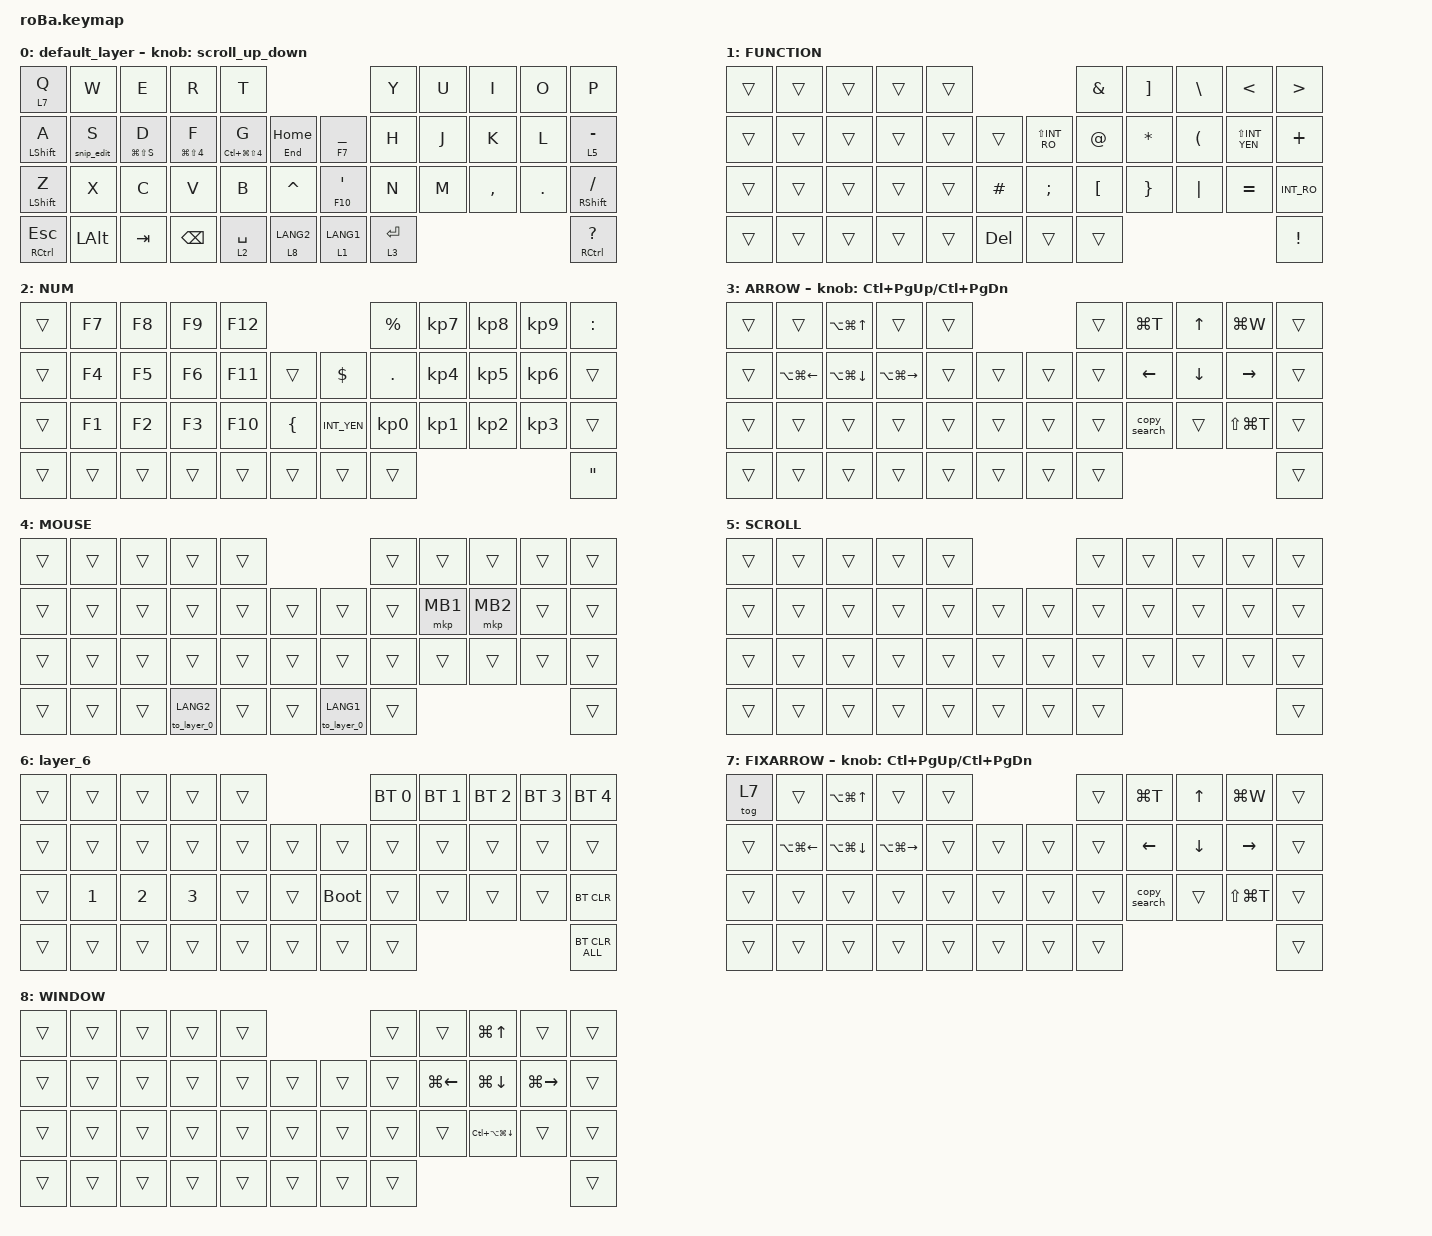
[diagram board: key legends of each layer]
#include <behaviors.dtsi>
#include <dt-bindings/zmk/bt.h>
#include <dt-bindings/zmk/keys.h>

#define ZMK_POINTING_DEFAULT_SCRL_VAL 100 
#include <dt-bindings/zmk/pointing.h>

// OS設定を日本語キーボードのまま使用するための変換定義
// 1段目（数字行）の記号
#define JP_DQUOTE    AT_SIGN        // " (JIS Shift+2)
#define JP_AMPERSAND CARET          // & (JIS Shift+6)
#define JP_QUOTE     AMPS           // ' (JIS Shift+7)
#define JP_LPAREN    ASTRK          // ( (JIS Shift+8)
#define JP_RPAREN    LPAR           // ) (JIS Shift+9)
#define JP_EQUAL     UNDERSCORE     // = (JIS Shift+-)
#define JP_CARET     EQUAL          // ^ (JIS 0の右)
#define JP_YEN       INT_YEN        // ¥ (JIS 0の右の右 / 0x89)
#define JP_BSLH      INT_RO         // \ (JISの「ろ」のキー)

// 2段目・3段目の記号
#define JP_AT        LBKT           // @ (JIS Pの右)
#define JP_LBRACKET  RBKT           // [ (JIS @の右)
#define JP_COLON     SQT            // : (JIS ;の右)
#define JP_ASTERISK  DQT            // * (JIS Shift+:)
#define JP_RBRACKET  BSLH           // ] (JIS む)

// 特殊記号（Shiftが必要なもの）
#define JP_PLUS      COLON          // + (JIS Shift+;)
#define JP_TILDE     PLUS           // ~ (JIS Shift+^)
#define JP_PIPE      LS(INT_YEN)    // | (JIS Shift+¥)
#define JP_BACKQUOTE LBRC           // ` (JIS Shift+@)
#define JP_LBRACE    RBRC           // { (JIS Shift+[)
#define JP_RBRACE    PIPE           // } (JIS Shift+])
#define JP_UNDERSCORE LS(INT_RO)    // _ (JIS Shift+ろ / 0x87)


&mt {
    flavor = "balanced";
    quick-tap-ms = <0>;
};

&trackball {
    automouse-layer = <4>;
    scroll-layers = <5>;
};

/ {
    combos {
        compatible = "zmk,combos";

        // 記号入力
        double_quotation {
            bindings = <&kp DOUBLE_QUOTES>;
            key-positions = <20 21>;
        };

        eq {
            bindings = <&kp EQUAL>;
            key-positions = <24 25>;
        };

        atmark {
            bindings = <&kp JP_AT>;
            key-positions = <4 10>;
        };

        under_score {
            bindings = <&kp JP_UNDERSCORE>;
            key-positions = <6 11>;
        };

        // デスクトップを左右に移動（Mac）
        Mac_Desk_LEFT {
            bindings = <&kp LC(LEFT)>;
            key-positions = <18 19>;
            timeout-ms = <50>;
        };

        Mac_Desk_RIGHT {
            bindings = <&kp LC(RIGHT)>;
            key-positions = <19 20>;
            timeout-ms = <50>;
        };

        // ミッションコントロール（Mac）
        MissionCntrl {
            bindings = <&kp LC(UP)>;
            key-positions = <18 20>;
            timeout-ms = <50>;
        };

        // デスクトップを左右に移動（Win）
        Win_Desk_LEFT {
            bindings = <&kp LG(LC(LEFT))>;
            key-positions = <30 31>;
            timeout-ms = <50>;
        };

        Win_Desk_RIGHT {
            bindings = <&kp LG(LC(RIGHT))>;
            key-positions = <31 32>;
            timeout-ms = <50>;   
        };

        // タスクビュー（Win）
        TaskView {
            bindings = <&kp LG(TAB)>;
            key-positions = <30 32>;
            timeout-ms = <50>;
        };
    };

    macros {
        to_layer_0: to_layer_0 {
            compatible = "zmk,behavior-macro-one-param";
            #binding-cells = <1>;
            bindings = <&to 0 &macro_param_1to1 &kp MACRO_PLACEHOLDER>;
        };

        // 選択文字列から新規タブ作成
        copy_search: copy_search {
            compatible = "zmk,behavior-macro";
            #binding-cells = <0>;
            wait-ms = <30>;
            tap-ms = <30>;
            bindings = <&kp LG(C) &kp LG(T) &macro_wait_time 150 &kp LG(V)>;
        };

        // 加工用スニップ：7番目のアプリ起動 -> 1秒待機 -> 新規作成
        snip_edit: snip_edit {
            compatible = "zmk,behavior-macro";
            #binding-cells = <0>;
            wait-ms = <30>;
            tap-ms = <30>;
            bindings 
                = <&kp LG(N7)>          // Win + 7
                , <&macro_wait_time 2000> // 起動待ち
                , <&kp ENTER>           // Enter
                ;
        };
    };

    behaviors {
        lt_to_layer_0: lt_to_layer_0 {
            compatible = "zmk,behavior-hold-tap";
            label = "LAYER_TAP_TO_0";
            bindings = <&mo>, <&to_layer_0>;

            #binding-cells = <2>;
            tapping-term-ms = <200>;
        };

        scroll_up_down: behavior_sensor_rotate_mouse_wheel_up_down {
            compatible = "zmk,behavior-sensor-rotate";
            #sensor-binding-cells = <0>;
            bindings = <&msc SCRL_UP>, <&msc SCRL_DOWN>;
            // 追加: スクロールのタップ時間を設定 (20ms)
            tap-ms = <20>;
        };

        // 短押しと長押しで別のキーを入力
        custom_ht: custom_ht {
            compatible = "zmk,behavior-hold-tap";
            #binding-cells = <2>;
            flavor = "tap-preferred";
            tapping-term-ms = <500>; // 0.5秒以上の長押しでマクロ発動
            bindings = <&kp>, <&kp>;
            // <長押し時のキー> <単押し時のキー>
            label = "CUSTOM_HOLD_TAP";
        };

        // 長押しでスニップ起動、単押しでキー入力
        snip_ht: snip_ht {
            compatible = "zmk,behavior-hold-tap";
            #binding-cells = <2>;
            flavor = "tap-preferred";
            tapping-term-ms = <500>; // 0.5秒の長押しで発動
            bindings = <&snip_edit>, <&kp>;
            label = "SNIP_HOLD_TAP";
        };

        // 長押しでレイヤーをトグル、単押しで通常のキーを入力する設定
        tog_ht: tog_ht {
            compatible = "zmk,behavior-hold-tap";
            #binding-cells = <2>;
            flavor = "tap-preferred";
            tapping-term-ms = <500>; // 長押しと判定する時間（ms）
            bindings = <&tog>, <&kp>;
            // <長押し時のトグル先> <単押し時のキー>
            label = "TOGGLE_HOLD_TAP";
        };
    };

    keymap {
        compatible = "zmk,keymap";

        default_layer {
            bindings = <
&tog_ht 7 Q       &kp W            &kp E                  &kp R                     &kp T                                                                                &kp Y        &kp U  &kp I      &kp O    &kp P
&mt LSHFT A       &snip_ht 0 S     &custom_ht LG(LS(S)) D &custom_ht LG(LS(N4)) F   &custom_ht LC(LG(LS(N4))) G        &custom_ht END HOME      &custom_ht F7 JP_EQUAL   &kp H        &kp J  &kp K      &kp L    &lt 5 MINUS
&mt LEFT_SHIFT Z  &kp X            &kp C                  &kp V                     &kp B                              &kp JP_AMPERSAND         &custom_ht F10 JP_COLON  &kp N        &kp M  &kp COMMA  &kp DOT  &mt RIGHT_SHIFT SLASH
&mt RCTRL ESCAPE  &kp LEFT_ALT     &kp TAB                &kp BACKSPACE             &lt 2 SPACE                        &lt 8 LANG2              &lt 1 LANG1              &lt 3 ENTER                             &mt RCTRL QUESTION
            >;

            sensor-bindings = <&scroll_up_down>;
        };

        FUNCTION {
            bindings = <
&trans      &trans       &trans     &trans  &trans                                   &kp JP_QUOTE   &kp JP_LBRACKET  &kp JP_RBRACKET  &kp LESS_THAN  &kp GREATER_THAN
&trans      &trans       &trans     &trans  &trans  &trans        &kp JP_UNDERSCORE  &kp JP_DQUOTE  &kp JP_LPAREN    &kp JP_RPAREN    &kp JP_PIPE    &kp JP_TILDE
&trans      &trans       &trans     &trans  &trans  &kp HASH      &kp SEMICOLON      &kp JP_AT      &kp JP_LBRACE    &kp JP_RBRACE    &kp JP_CARET   &kp JP_BSLH
&trans      &trans       &trans     &trans  &trans  &kp DEL       &trans             &trans                                                          &kp EXCLAMATION
            >;
        };

        NUM {
            bindings = <
&trans  &kp F7  &kp F8  &kp F9  &kp F12                                    &kp PERCENT  &kp KP_N7  &kp KP_N8  &kp KP_N9  &kp JP_PLUS
&trans  &kp F4  &kp F5  &kp F6  &kp F11  &trans                &kp DOLLAR  &kp PERIOD   &kp KP_N4  &kp KP_N5  &kp KP_N6  &trans
&trans  &kp F1  &kp F2  &kp F3  &kp F10  &kp JP_BACKQUOTE      &kp JP_YEN  &kp KP_N0    &kp KP_N1  &kp KP_N2  &kp KP_N3  &trans
&trans  &trans  &trans  &trans  &trans   &trans                &trans      &trans                                        &kp JP_ASTERISK
            >;
        };

        ARROW {
            bindings = <
&trans  &trans            &kp LA(LG(UP))    &trans            &trans                                 &trans  &kp LG(T)     &kp UP_ARROW  &kp LG(W)        &trans
&trans  &kp LA(LG(LEFT))  &kp LA(LG(DOWN))  &kp LA(LG(RIGHT)) &trans  &trans               &trans    &trans  &kp LEFT      &kp DOWN      &kp RIGHT_ARROW  &trans
&trans  &trans            &trans            &trans            &trans  &trans               &trans    &trans  &copy_search  &trans        &kp LS(LG(T))    &trans
&trans  &trans            &trans            &trans            &trans  &trans               &trans    &trans                                               &trans

            >;

            sensor-bindings = <&inc_dec_kp LC(PAGE_UP) LC(PAGE_DOWN)>;
        };

        MOUSE {
            bindings = <
&trans  &trans  &trans  &trans             &trans                                 &trans  &trans    &trans    &trans    &trans
&trans  &trans  &trans  &trans             &trans  &trans      &trans             &trans  &mkp MB1  &mkp MB2  &trans    &trans
&trans  &trans  &trans  &trans             &trans  &trans      &trans             &trans  &trans    &trans    &trans    &trans
&trans  &trans  &trans  &to_layer_0 LANG2  &trans  &trans      &to_layer_0 LANG1  &trans                                &trans
            >;
        };

        SCROLL {
            bindings = <
&trans  &trans  &trans  &trans  &trans                      &trans  &trans  &trans  &trans  &trans
&trans  &trans  &trans  &trans  &trans  &trans      &trans  &trans  &trans  &trans  &trans  &trans
&trans  &trans  &trans  &trans  &trans  &trans      &trans  &trans  &trans  &trans  &trans  &trans
&trans  &trans  &trans  &trans  &trans  &trans      &trans  &trans                          &trans
            >;
        };

        layer_6 {
            bindings = <
&trans  &trans        &trans        &trans        &trans                           &bt BT_SEL 0  &bt BT_SEL 1  &bt BT_SEL 2  &bt BT_SEL 3  &bt BT_SEL 4
&trans  &trans        &trans        &trans        &trans  &trans      &trans       &trans        &trans        &trans        &trans        &trans
&trans  &kp NUMBER_1  &kp NUMBER_2  &kp NUMBER_3  &trans  &trans      &bootloader  &trans        &trans        &trans        &trans        &bt BT_CLR
&trans  &trans        &trans        &trans        &trans  &trans      &trans       &trans                                                  &bt BT_CLR_ALL
            >;
        };

        FIXARROW {
            bindings = <
&tog 7  &trans            &kp LA(LG(UP))    &trans            &trans                                 &trans  &kp LG(T)     &kp UP_ARROW  &kp LG(W)        &trans
&trans  &kp LA(LG(LEFT))  &kp LA(LG(DOWN))  &kp LA(LG(RIGHT)) &trans  &trans               &trans    &trans  &kp LEFT      &kp DOWN      &kp RIGHT_ARROW  &trans
&trans  &trans            &trans            &trans            &trans  &trans               &trans    &trans  &copy_search  &trans        &kp LS(LG(T))    &trans
&trans  &trans            &trans            &trans            &trans  &trans               &trans    &trans                                               &trans
            >;

            sensor-bindings = <&inc_dec_kp LC(PAGE_UP) LC(PAGE_DOWN)>;
        };

        WINDOW {
            bindings = <
&trans  &trans  &trans  &trans  &trans                      &trans  &trans        &kp LG(UP)             &trans         &trans
&trans  &trans  &trans  &trans  &trans  &trans      &trans  &trans  &kp LG(LEFT)  &kp LG(DOWN)           &kp LG(RIGHT)  &trans
&trans  &trans  &trans  &trans  &trans  &trans      &trans  &trans  &trans        &kp LC(LA(LG(DOWN)))   &trans         &trans
&trans  &trans  &trans  &trans  &trans  &trans      &trans  &trans                                                      &trans
            >;
        };

    };
};
